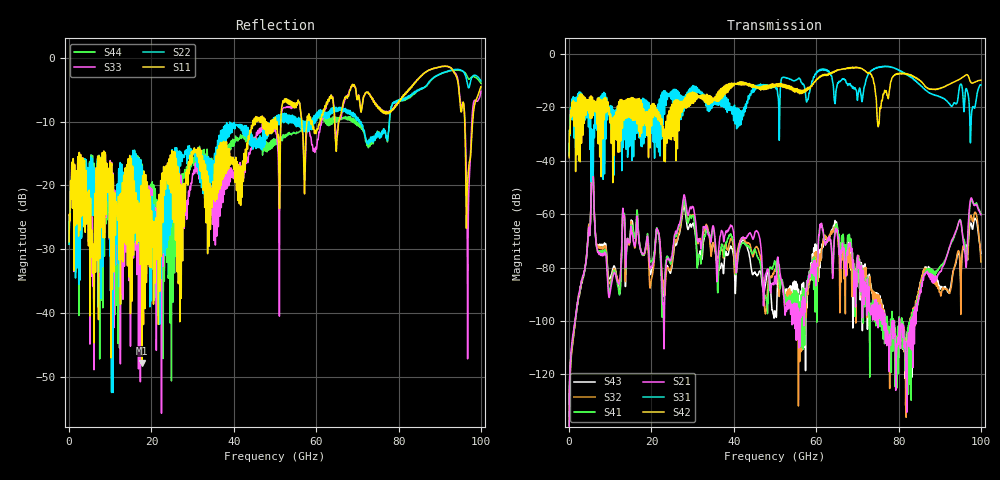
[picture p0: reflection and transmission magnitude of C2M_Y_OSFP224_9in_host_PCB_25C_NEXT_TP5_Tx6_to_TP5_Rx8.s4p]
# GHz S RI R 45
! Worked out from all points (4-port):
!   4000 points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, 25 MHz to 100 GHz, reference 45 ohm
!   strongest paths, dB at 25 MHz, 25.02 GHz, 50.02 GHz, 75.03 GHz, 100 GHz:
!     S42: -38.9, -18.9, -11.6, -27.1, -9.9
!     S31: -38.0, -14.1, -12.4, -5.0, -11.6
!     S21: -139.6, -75.5, -83.2, -100.6, -60.2
!     S41: -139.2, -76.2, -77.8, -93.3, -59.8
!     S32: -135.5, -78.7, -81.4, -91.8, -77.9
!     S43: -131.0, -79.4, -97.4, -90.5, -74.7
!   lowest |S11| = -47.8 dB at 17.7 GHz (marker M1), VSWR 1.01, Z = 45.1 + j0.352 ohm
!   |S11| at or under -10 dB: start of sweep to 44.62 GHz; 59.03 GHz to 60.93 GHz (1.901 GHz wide, 3.17 % of centre); 96.08 GHz to 98 GHz (1.927 GHz wide, 1.99 % of centre) (the widest 3 of 18)
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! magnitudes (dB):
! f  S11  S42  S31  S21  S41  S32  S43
! 25 MHz  -28.8  -38.9  -38.0  -139.6  -139.2  -135.5  -131.0
! 3.825 GHz  -17.7  -16.9  -17.7  -80.7  -80.9  -80.9  -81.2
! 5.7 GHz  -33.4  -16.3  -35.8  -41.9  -42.0  -41.9  -41.9
! 9.625 GHz  -17.4  -22.7  -21.1  -90.6  -89.3  -85.2  -83.8
! 17.7 GHz  -47.8  -20.1  -21.7  -74.6  -74.9  -74.6  -74.8
! 89.5 GHz  -1.5  -13.1  -15.6  -82.8  -81.2  -87.6  -84.8
! 100 GHz  -4.6  -9.9  -11.6  -60.2  -59.8  -77.9  -74.7
